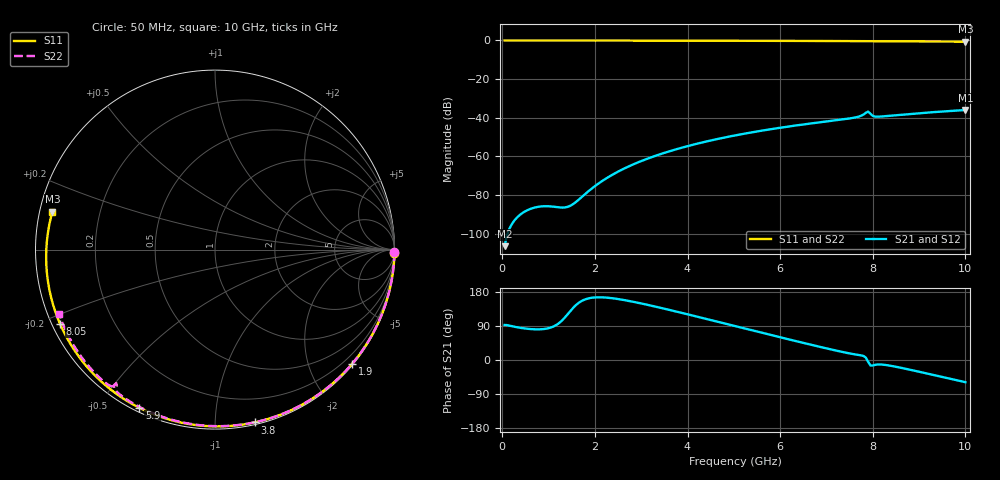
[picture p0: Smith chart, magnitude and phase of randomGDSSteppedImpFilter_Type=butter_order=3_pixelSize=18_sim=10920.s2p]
! freq	dB(S11)	phase(S11)	dB(S12)	phase(S12)
!  dB(S21)	phase(S21)	dB(S22)	phase(S22)
!S-par simulation data
#  GHz  S  DB  R 50
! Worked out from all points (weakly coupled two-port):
!   200 points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, 50 MHz to 10 GHz, reference 50 ohm
!   highest |S21| = -36.00 dB at 10 GHz (marker M1); lowest = -106.4 dB at 50 MHz (marker M2)
!   lowest |S11| = -0.6 dB at 10 GHz (marker M3), VSWR 27.65, Z = 1.83 + j5.77 ohm
!   |S11| at or under -10 dB: nowhere
!   |S22| runs from -0.7 to 0.0 dB; largest |S21 - S12| = 0
!   S11 on the Smith chart (normalised r, x): 50 MHz: open; 1.9 GHz: 0.03, -2.77; 3.8 GHz: 0.02, -1.26; 5.9 GHz: 0.02, -0.63; 8.05 GHz: 0.02, -0.23; 10 GHz: 0.04, +0.12
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0.05  -0.00 -1.1  -106.44 92.5  -106.44 92.5  -0.00 -0.9
0.85  -0.02 -18.0  -85.85 81.2  -85.85 81.2  -0.02 -15.2
1.75  -0.05 -36.6  -80.29 157.9  -80.29 157.9  -0.04 -30.9
1.9  -0.05 -39.7  -77.24 163.6  -77.24 163.6  -0.04 -33.5
2.2  -0.06 -45.8  -72.04 165.1  -72.04 165.1  -0.05 -38.7
2.55  -0.07 -52.8  -67.25 159.9  -67.25 159.9  -0.06 -44.6
2.95  -0.08 -60.7  -62.89 150.5  -62.89 150.5  -0.07 -51.3
3.4  -0.09 -69.4  -58.93 138.2  -58.93 138.2  -0.08 -58.7
3.8  -0.11 -77.0  -55.99 126.6  -55.99 126.6  -0.09 -65.2
4.4  -0.13 -88.3  -52.31 108.6  -52.31 108.6  -0.11 -74.7
5.05  -0.16 -100.2  -49.03 88.8  -49.03 88.8  -0.13 -84.7
5.9  -0.20 -115.5  -45.54 63.0  -45.54 63.0  -0.17 -97.5
6.7  -0.26 -129.8  -42.84 39.3  -42.84 39.3  -0.21 -109.2
7.65  -0.34 -146.9  -39.70 14.1  -39.70 14.1  -0.30 -123.2
7.75  -0.35 -148.8  -38.96 12.2  -38.96 12.2  -0.34 -125.0
7.85  -0.36 -150.6  -37.40 6.4  -37.40 6.4  -0.51 -126.7
7.9  -0.36 -151.5  -36.82 -4.8  -36.82 -4.8  -0.67 -126.5
8  -0.37 -153.4  -39.01 -14.5  -39.01 -14.5  -0.44 -126.4
8.05  -0.38 -154.3  -39.39 -12.8  -39.39 -12.8  -0.38 -127.3
8.35  -0.41 -159.9  -38.99 -14.5  -38.99 -14.5  -0.35 -132.2
9.2  -0.52 -176.4  -37.28 -36.5  -37.28 -36.5  -0.43 -144.8
10  -0.63 166.8  -36.00 -58.5  -36.00 -58.5  -0.54 -157.5
